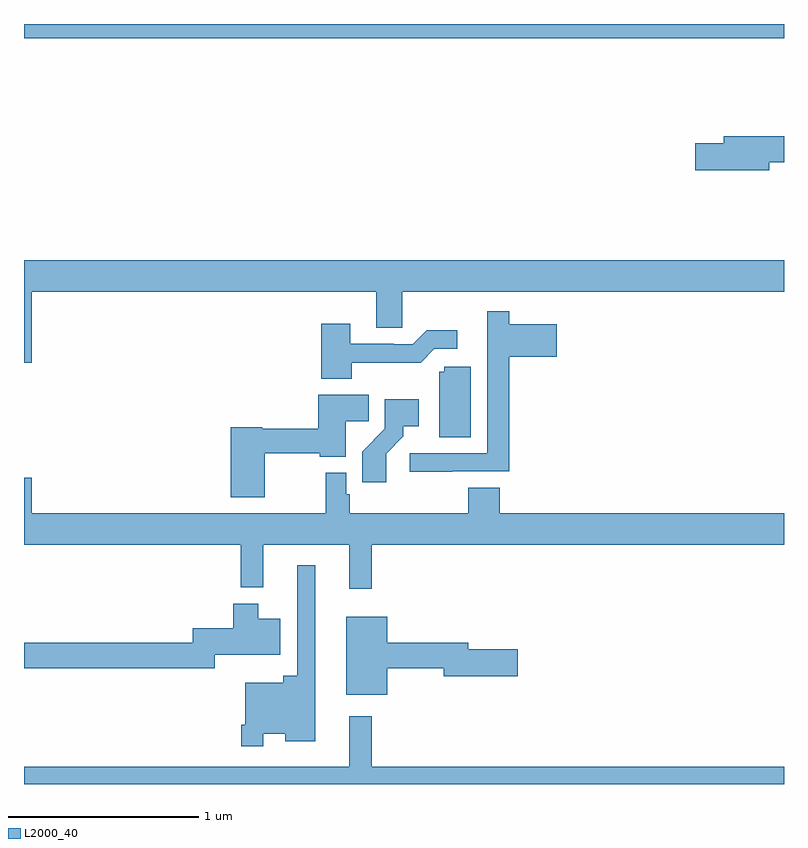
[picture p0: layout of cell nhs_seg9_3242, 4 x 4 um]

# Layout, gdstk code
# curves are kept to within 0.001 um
import gdstk
lib = gdstk.Library(unit=1e-6, precision=1e-09)
def R(c, l, rs):  # rectangles x0, y0, x1, y1
    for r in rs: c.add(gdstk.rectangle(r[:2], r[2:], *l))
def P(c, l, *ps):  # polygons
    for p in ps: c.add(gdstk.Polygon(p, *l))
L2000_40 = (2000, 40)

nhs_seg9_3242 = lib.new_cell('nhs_seg9_3242')
R(nhs_seg9_3242, L2000_40, [(297,1192.424,301,1192.5)])
P(nhs_seg9_3242, L2000_40, [(300.922,1191.772),(301,1191.772),(301,1191.908),(300.683,1191.908),(300.683,1191.872),(300.534,1191.872),(300.534,1191.73),(300.922,1191.73)],
  [(297.04,1191.092),(298.853,1191.092),(298.853,1190.902),(298.992,1190.902),(298.992,1191.092),(301,1191.092),(301,1191.256),(297,1191.256),(297,1190.718),(297.04,1190.718)],
  [(299.255,1190.145),(299.555,1190.145),(299.555,1190.75),(299.803,1190.75),(299.803,1190.92),(299.555,1190.92),(299.555,1190.989),(299.438,1190.989),(299.438,1190.766),(299.439,1190.766),(299.439,1190.241),(299.031,1190.241),(299.031,1190.143),(299.255,1190.143)],
  [(298.725,1190.718),(299.087,1190.717),(299.16,1190.79),(299.281,1190.79),(299.281,1190.887),(299.119,1190.887),(299.046,1190.814),(298.946,1190.814),(298.946,1190.817),(298.717,1190.817),(298.717,1190.923),(298.565,1190.923),(298.565,1190.633),(298.725,1190.633)],
  [(299.35,1190.697),(299.211,1190.697),(299.211,1190.67),(299.186,1190.67),(299.186,1190.326),(299.35,1190.326)],
  [(298.266,1190.241),(298.556,1190.241),(298.556,1190.222),(298.693,1190.222),(298.693,1190.41),(298.814,1190.41),(298.814,1190.548),(298.549,1190.548),(298.549,1190.369),(298.254,1190.369),(298.254,1190.377),(298.088,1190.377),(298.088,1190.01),(298.266,1190.01)],
  [(298.906,1190.239),(298.996,1190.329),(298.996,1190.384),(299.077,1190.384),(299.077,1190.524),(298.899,1190.524),(298.899,1190.369),(298.78,1190.25),(298.78,1190.088),(298.906,1190.088)],
  [(298.829,1189.76),(301,1189.76),(301,1189.924),(299.504,1189.924),(299.504,1190.06),(299.339,1190.06),(299.339,1189.924),(298.715,1189.924),(298.715,1190.025),(298.695,1190.025),(298.695,1190.137),(298.587,1190.137),(298.587,1189.924),(297.04,1189.924),(297.04,1190.113),(297,1190.113),(297,1189.76),(298.141,1189.76),(298.141,1189.535),(298.259,1189.535),(298.259,1189.76),(298.712,1189.76),(298.712,1189.527),(298.829,1189.527)],
  [(298.26,1188.764),(298.376,1188.764),(298.376,1188.725),(298.534,1188.725),(298.534,1189.651),(298.437,1189.651),(298.437,1189.069),(298.364,1189.069),(298.364,1189.033),(298.164,1189.033),(298.164,1188.811),(298.144,1188.811),(298.144,1188.699),(298.26,1188.699)],
  [(298.005,1189.181),(298.348,1189.181),(298.348,1189.369),(298.234,1189.369),(298.234,1189.45),(298.1,1189.45),(298.1,1189.321),(297.889,1189.321),(297.889,1189.244),(297,1189.244),(297,1189.108),(298.005,1189.108)],
  [(298.912,1189.108),(299.21,1189.108),(299.21,1189.066),(299.599,1189.066),(299.599,1189.208),(299.338,1189.208),(299.338,1189.244),(298.912,1189.244),(298.912,1189.381),(298.697,1189.381),(298.697,1188.971),(298.912,1188.971)],
  [(301,1188.592),(298.829,1188.592),(298.829,1188.856),(298.712,1188.856),(298.712,1188.592),(297,1188.592),(297,1188.5),(301,1188.5)])

lib.write_gds('nhs_seg9_3242.gds')
